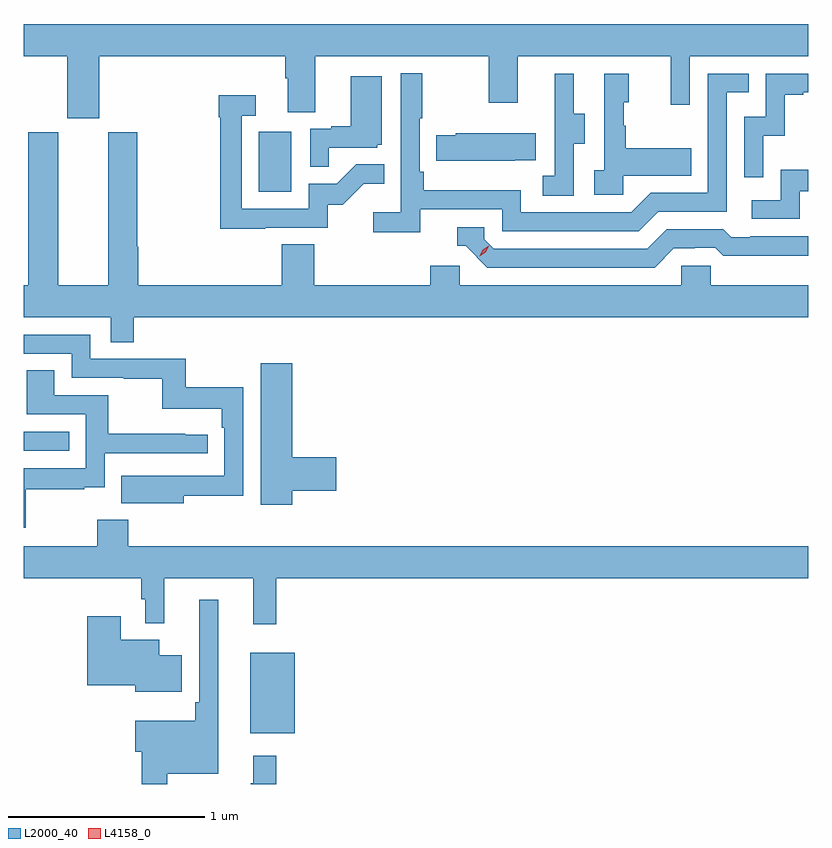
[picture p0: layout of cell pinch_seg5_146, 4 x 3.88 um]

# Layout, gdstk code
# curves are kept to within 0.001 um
import gdstk
lib = gdstk.Library(unit=1e-6, precision=1e-09)
def R(c, l, rs):  # rectangles x0, y0, x1, y1
    for r in rs: c.add(gdstk.rectangle(r[:2], r[2:], *l))
def P(c, l, *ps):  # polygons
    for p in ps: c.add(gdstk.Polygon(p, *l))
L2000_40 = (2000, 40)
L4158_0 = (4158, 0)

pinch_seg5_146 = lib.new_cell('pinch_seg5_146')
R(pinch_seg5_146, L2000_40, [(1077.917,887.939,1078.144,888.349), (1076.763,889.38,1076.993,889.476), (1077.962,890.7,1078.126,891.007)])
P(pinch_seg5_146, L2000_40, [(1076.763,891.392),(1076.984,891.392),(1076.984,891.075),(1077.148,891.075),(1077.148,891.392),(1078.097,891.392),(1078.097,891.28),(1078.109,891.28),(1078.109,891.106),(1078.249,891.106),(1078.249,891.392),(1079.134,891.392),(1079.134,891.153),(1079.281,891.153),(1079.281,891.392),(1080.062,891.392),(1080.062,891.144),(1080.159,891.144),(1080.159,891.392),(1080.763,891.392),(1080.763,891.556),(1076.763,891.556)],
  [(1078.784,890.61),(1079.202,890.61),(1079.202,890.499),(1079.899,890.499),(1079.998,890.598),(1080.348,890.598),(1080.348,891.207),(1080.461,891.207),(1080.461,891.303),(1080.252,891.303),(1080.252,890.694),(1079.961,890.694),(1079.862,890.595),(1079.298,890.595),(1079.298,890.707),(1078.802,890.707),(1078.802,890.803),(1078.782,890.803),(1078.782,891.076),(1078.795,891.076),(1078.795,891.304),(1078.686,891.304),(1078.686,890.596),(1078.545,890.596),(1078.545,890.494),(1078.784,890.494)],
  [(1080.534,890.987),(1080.644,890.987),(1080.644,891.195),(1080.739,891.195),(1080.739,891.207),(1080.763,891.207),(1080.763,891.303),(1080.546,891.303),(1080.546,891.084),(1080.438,891.084),(1080.438,890.775),(1080.534,890.775)],
  [(1079.82,890.783),(1080.167,890.783),(1080.167,890.923),(1079.833,890.923),(1079.833,891.038),(1079.823,891.038),(1079.823,891.156),(1079.848,891.156),(1079.848,891.301),(1079.724,891.301),(1079.724,890.81),(1079.673,890.81),(1079.673,890.685),(1079.82,890.685)],
  [(1079.568,890.944),(1079.623,890.944),(1079.623,891.099),(1079.569,891.099),(1079.569,891.301),(1079.471,891.301),(1079.471,891.087),(1079.472,891.087),(1079.472,890.783),(1079.409,890.783),(1079.409,890.68),(1079.568,890.68)],
  [(1078.319,890.925),(1078.566,890.925),(1078.566,890.94),(1078.588,890.94),(1078.588,891.289),(1078.43,891.289),(1078.43,891.034),(1078.331,891.034),(1078.331,891.021),(1078.224,891.021),(1078.224,890.827),(1078.319,890.827)],
  [(1077.995,890.517),(1078.314,890.517),(1078.314,890.634),(1078.39,890.634),(1078.497,890.741),(1078.601,890.741),(1078.601,890.84),(1078.457,890.84),(1078.359,890.742),(1078.215,890.742),(1078.215,890.613),(1077.873,890.613),(1077.873,891.087),(1077.946,891.087),(1077.946,891.193),(1077.757,891.193),(1077.757,891.08),(1077.765,891.08),(1077.765,890.512),(1077.995,890.512)],
  [(1080.763,890.224),(1080.267,890.224),(1080.267,890.322),(1080.117,890.322),(1080.117,890.224),(1078.986,890.224),(1078.986,890.322),(1078.835,890.322),(1078.835,890.224),(1078.244,890.224),(1078.244,890.432),(1078.079,890.432),(1078.079,890.224),(1077.347,890.224),(1077.347,890.42),(1077.342,890.42),(1077.342,891.003),(1077.194,891.003),(1077.194,890.224),(1076.938,890.224),(1076.938,891.003),(1076.786,891.003),(1076.786,890.224),(1076.763,890.224),(1076.763,890.06),(1077.207,890.06),(1077.207,889.933),(1077.323,889.933),(1077.323,890.06),(1080.763,890.06)],
  [(1079.267,890.861),(1079.375,890.861),(1079.375,890.998),(1078.965,890.998),(1078.965,890.988),(1078.867,890.988),(1078.867,890.858),(1079.267,890.858)],
  [(1080.72,890.703),(1080.763,890.703),(1080.763,890.812),(1080.624,890.812),(1080.624,890.658),(1080.477,890.658),(1080.477,890.562),(1080.72,890.562)],
  [(1080.079,890.412),(1080.186,890.412),(1080.186,890.415),(1080.289,890.415),(1080.331,890.373),(1080.564,890.373),(1080.564,890.375),(1080.763,890.375),(1080.763,890.473),(1080.469,890.472),(1080.469,890.469),(1080.37,890.469),(1080.331,890.508),(1080.042,890.508),(1079.943,890.409),(1079.16,890.409),(1079.112,890.457),(1079.112,890.52),(1078.973,890.52),(1078.973,890.424),(1079.016,890.424),(1079.127,890.313),(1079.98,890.313)],
  [(1077.577,889.15),(1077.882,889.15),(1077.882,889.702),(1077.589,889.702),(1077.589,889.848),(1077.102,889.848),(1077.102,889.971),(1076.763,889.971),(1076.763,889.875),(1077.006,889.875),(1077.006,889.752),(1077.271,889.752),(1077.271,889.747),(1077.468,889.747),(1077.468,889.592),(1077.773,889.592),(1077.773,889.496),(1077.786,889.496),(1077.786,889.251),(1077.473,889.251),(1077.473,889.252),(1077.259,889.252),(1077.259,889.112),(1077.577,889.112)],
  [(1078.132,889.175),(1078.357,889.175),(1078.357,889.346),(1078.132,889.346),(1078.132,889.825),(1077.971,889.825),(1077.971,889.104),(1078.132,889.104)],
  [(1076.773,889.182),(1077.071,889.182),(1077.071,889.193),(1077.174,889.193),(1077.174,889.365),(1077.7,889.365),(1077.7,889.461),(1077.587,889.461),(1077.587,889.466),(1077.194,889.466),(1077.194,889.662),(1076.917,889.662),(1076.917,889.79),(1076.777,889.79),(1076.777,889.566),(1077.078,889.566),(1077.078,889.29),(1076.763,889.29),(1076.763,888.987),(1076.773,888.987)],
  [(1078.049,888.728),(1080.763,888.728),(1080.763,888.892),(1077.296,888.892),(1077.296,889.027),(1077.136,889.027),(1077.136,888.892),(1076.763,888.892),(1076.763,888.728),(1077.361,888.728),(1077.361,888.622),(1077.381,888.622),(1077.381,888.5),(1077.479,888.5),(1077.479,888.728),(1077.932,888.728),(1077.932,888.495),(1078.049,888.495)],
  [(1077.493,887.732),(1077.754,887.732),(1077.754,888.619),(1077.657,888.619),(1077.657,888.097),(1077.637,888.097),(1077.637,888.001),(1077.33,888.001),(1077.33,887.843),(1077.364,887.843),(1077.364,887.679),(1077.493,887.679)],
  [(1077.568,888.337),(1077.454,888.337),(1077.454,888.415),(1077.256,888.415),(1077.256,888.535),(1077.086,888.535),(1077.086,888.182),(1077.332,888.182),(1077.332,888.149),(1077.568,888.149)],
  [(1078.049,887.824),(1077.932,887.824),(1077.932,887.684),(1077.921,887.684),(1077.921,887.679),(1078.049,887.679)])
P(pinch_seg5_146, L4158_0, [(1079.087,890.372),(1079.087,890.373),(1079.103,890.405),(1079.134,890.424),(1079.134,890.424),(1079.134,890.424),(1079.118,890.392),(1079.088,890.372)])

lib.write_gds('pinch_seg5_146.gds')
